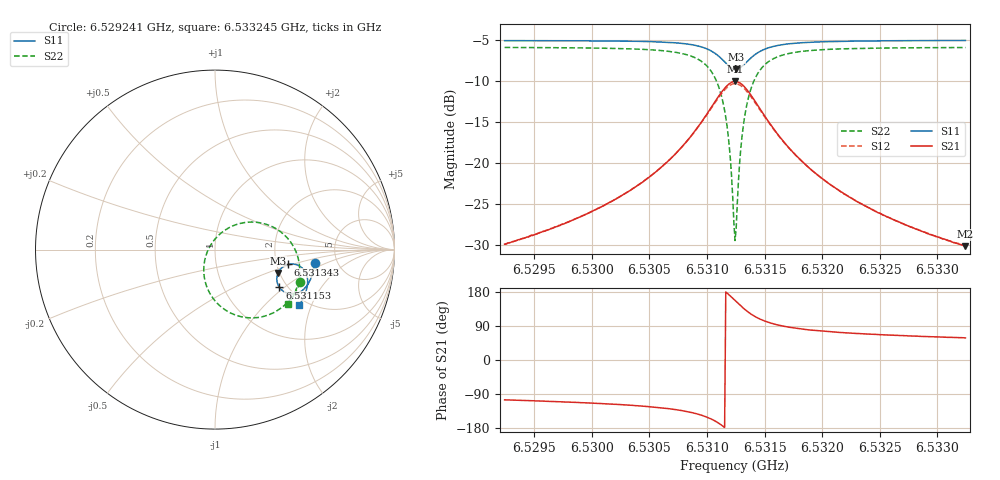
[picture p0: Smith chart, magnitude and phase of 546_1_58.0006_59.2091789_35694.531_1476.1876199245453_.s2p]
#  HZ  S  RI  R  50.00
! Rohde & Schwarz Vector Network Analyzer
! Rohde-Schwarz,ZNB20-2Port,1311601062101988,3.16
! Created: UTC 3/21/2024, 1:14:47 AM
! freq[Hz]  re:S11  im:S11  re:S21  im:S21  re:S12  im:S12  re:S22  im:S22
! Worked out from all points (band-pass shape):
!   401 points, 6.529241 GHz to 6.533245 GHz, reference 50 ohm
!   highest |S21| = -10.02 dB at 6.531243 GHz (marker M1); lowest = -30.2 dB at 6.533245 GHz (marker M2)
!   |S21| within 3 dB of the highest: 6.531045 GHz to 6.531444 GHz (399.6 kHz wide, 0.00612 % of centre)
!   lowest |S11| = -8.5 dB at 6.531253 GHz (marker M3), VSWR 2.20, Z = 98.3 - j29.6 ohm
!   |S11| at or under -10 dB: nowhere
!   |S22| runs from -29.5 to -5.9 dB; largest |S21 - S12| = 0.013
!   S11 on the Smith chart (normalised r, x): 6.529241 GHz: 3.37, -0.75; 6.531153 GHz: 1.82, -0.93; 6.531343 GHz: 2.31, -0.46; 6.533245 GHz: 1.82, -1.64
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6.5292413e9  0.5555 -0.0761  -0.00832 -0.0308  -0.00896 -0.0306  0.4756 -0.1831
6.5299119e9  0.5438 -0.132  -0.0182 -0.0438  -0.0192 -0.0434  0.4431 -0.2449
6.5302922e9  0.5313 -0.1677  -0.0313 -0.0575  -0.0329 -0.0566  0.4088 -0.2892
6.5305825e9  0.5138 -0.1992  -0.0534 -0.0745  -0.0554 -0.0731  0.359 -0.3324
6.5308127e9  0.4856 -0.2284  -0.0944 -0.0937  -0.0972 -0.0904  0.2766 -0.3706
6.5309828e9  0.4405 -0.2467  -0.1645 -0.099  -0.1665 -0.0922  0.1481 -0.3743
6.5310829e9  0.3945 -0.2399  -0.2351 -0.0706  -0.234 -0.0608  0.0295 -0.315
6.531153e9  0.3591 -0.2108  -0.2868 -0.00957  -0.2803 0.000414  -0.0469 -0.2042
6.531193e9  0.3463 -0.1814  -0.3022 0.045  -0.2926 0.053  -0.0626 -0.1113
6.531223e9  0.3448 -0.1556  -0.3003 0.0915  -0.2888 0.0969  -0.0511 -0.0354
6.531233e9  0.3461 -0.1467  -0.2963 0.1071  -0.2847 0.1114  -0.0423 -0.0107
6.531243e9  0.3483 -0.1381  -0.2908 0.1225  -0.2793 0.1255  -0.0309 0.0132
6.5312531e9  0.3514 -0.1296  -0.2839 0.137  -0.2723 0.1392  -0.0174 0.0357
6.5313031e9  0.3783 -0.0961  -0.2321 0.1947  -0.2226 0.1925  0.0768 0.1213
6.5313431e9  0.4066 -0.0827  -0.1812 0.2175  -0.1744 0.2139  0.164 0.1506
6.5314132e9  0.4513 -0.0833  -0.1036 0.218  -0.1002 0.2145  0.294 0.1381
6.5315133e9  0.4898 -0.107  -0.0376 0.1846  -0.0359 0.1827  0.4007 0.0674
6.5316634e9  0.5114 -0.1442  0.00181 0.1358  0.00299 0.1349  0.4582 -0.0305
6.5319136e9  0.5159 -0.1881  0.0176 0.0883  0.0188 0.088  0.4717 -0.1295
6.5322139e9  0.5091 -0.2242  0.0201 0.0601  0.021 0.0599  0.4609 -0.1955
6.5325842e9  0.4967 -0.2585  0.0191 0.0422  0.0198 0.0419  0.4422 -0.2458
6.5332448e9  0.4705 -0.3082  0.0163 0.0264  0.0169 0.0262  0.4076 -0.3051
